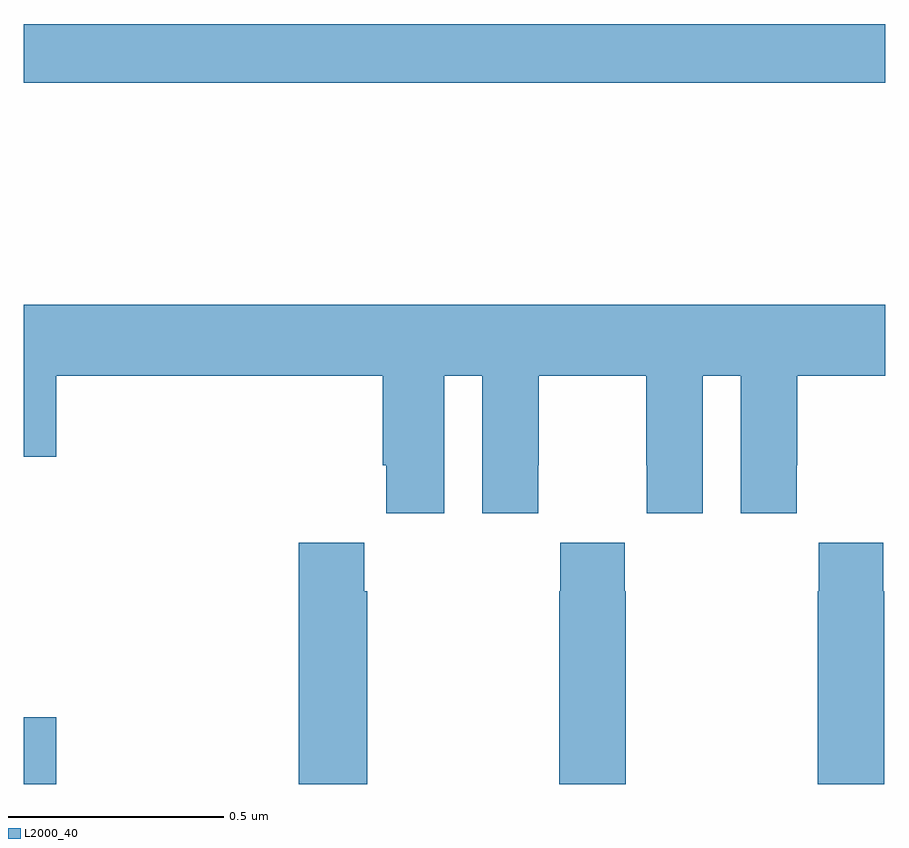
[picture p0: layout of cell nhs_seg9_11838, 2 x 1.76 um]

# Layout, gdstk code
import gdstk
lib = gdstk.Library(unit=1e-6, precision=1e-09)
def R(c, l, rs):  # rectangles x0, y0, x1, y1
    for r in rs: c.add(gdstk.rectangle(r[:2], r[2:], *l))
def P(c, l, *ps):  # polygons
    for p in ps: c.add(gdstk.Polygon(p, *l))
L2000_40 = (2000, 40)

nhs_seg9_11838 = lib.new_cell('nhs_seg9_11838')
R(nhs_seg9_11838, L2000_40, [(261,1167.5,261.076,1167.655), (261,1169.128,263,1169.264)])
P(nhs_seg9_11838, L2000_40, [(261.976,1168.448),(262.064,1168.448),(262.064,1168.128),(262.194,1168.128),(262.194,1168.24),(262.195,1168.24),(262.195,1168.448),(262.445,1168.448),(262.445,1168.24),(262.446,1168.24),(262.446,1168.128),(262.576,1168.128),(262.576,1168.448),(262.664,1168.448),(262.664,1168.128),(262.794,1168.128),(262.794,1168.24),(262.795,1168.24),(262.795,1168.448),(263,1168.448),(263,1168.612),(261,1168.612),(261,1168.26),(261.076,1168.26),(261.076,1168.448),(261.833,1168.448),(261.833,1168.24),(261.842,1168.24),(261.842,1168.128),(261.976,1168.128)],
  [(261.798,1167.947),(261.791,1167.947),(261.791,1168.06),(261.638,1168.06),(261.638,1167.5),(261.798,1167.5)],
  [(262.398,1167.947),(262.395,1167.947),(262.395,1168.06),(262.245,1168.06),(262.245,1167.947),(262.243,1167.947),(262.243,1167.5),(262.398,1167.5)],
  [(262.998,1167.947),(262.995,1167.947),(262.995,1168.06),(262.845,1168.06),(262.845,1167.947),(262.843,1167.947),(262.843,1167.5),(262.998,1167.5)])

lib.write_gds('nhs_seg9_11838.gds')
